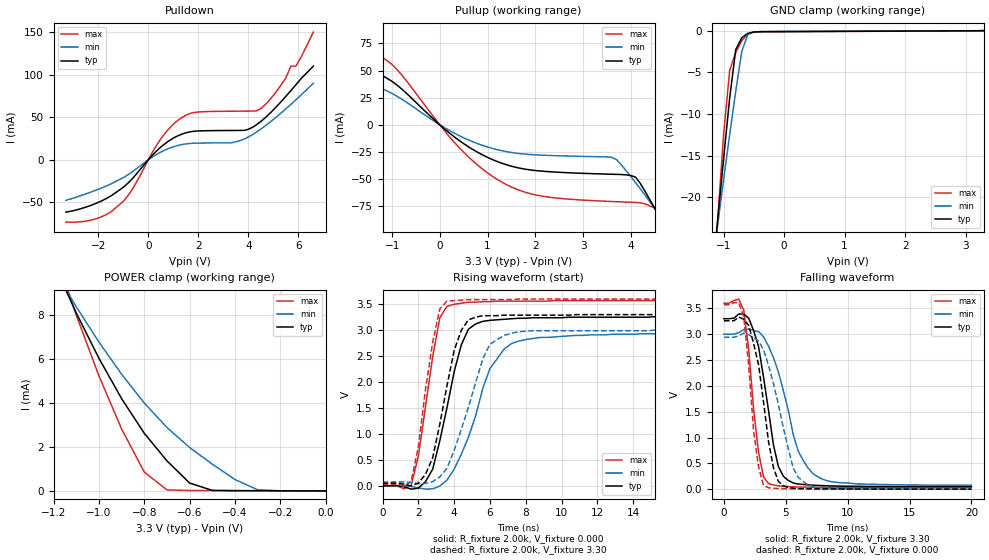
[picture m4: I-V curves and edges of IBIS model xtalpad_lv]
| [Disclaimer] (C) Copyright ATMEL Norway 2006 Atmel Norway makes no warranty
| for the use of its products, other than those explicitly
| stated in the Company's standard warranty which is detailed in
| Atmel's Terms and Conditions located on the Company's web
| site. The Company assumes no responsibility for any errors
| which may appear in this document. The user is granted this
| license only to use the IBIS model and is not granted rights
| to sell, load, rent, lease or license the IBIS model in whole
| or in part, or in modified form to anyone other than user.
| User may modify the IBIS model to suit its specific
| applications but rights to derivative works and such
| modifications shall belong to Atmel Norway. This IBIS model is
| provided on an \"AS IS\" basis and Atmel Norway makes
| absolutely no warranty with respect to the information
| contained herein.
| [Copyright] Copyright (c) 2008 by ATMEL Norway
| From m32a3p40.ibs, atmega32a_33_pdip40, Atmel Corp.
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|   Model xtalpad_lv
[Model]   xtalpad_lv
Model_type   I/O
Polarity   Non-Inverting
Enable   Active-High
Vinl =   0.99V
Vinh =   2.31V
Vmeas =   1.65V
Cref =  50.00pF
C_comp   3.89pF   3.88pF   4.46pF
[Temperature Range]   27.00   0.12k   -55.00
[Voltage Range]   3.30V   3.00V   3.60V
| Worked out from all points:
|   slope of the pulldown table from 0 to 0.495 V, typ, clamps not added: 33.5 ohm
|   slope of the pullup table from 0 to 0.495 V, typ, clamps not added: 28.9 ohm
|   GND clamp passes 1 mA (typ) near -0.71 V on its own axis
|   POWER clamp passes 1 mA (typ) near -0.66 V on its own axis
|   rising waveform, R_fixture 2.00k, V_fixture 0.000: 20-80 % time 1.27ns typ, 1.82ns min, 935ps max; typ from 0 V to 3.26 V
|   rising waveform, R_fixture 2.00k, V_fixture 3.30: 20-80 % time 1.14ns typ, 1.6ns min, 876ps max; typ from 0.048 V to 3.3 V
|   falling waveform, R_fixture 2.00k, V_fixture 3.30: 20-80 % time 1.28ns typ, 1.99ns min, 876ps max; typ from 3.3 V to 0.048 V
|   falling waveform, R_fixture 2.00k, V_fixture 0.000: 20-80 % time 1.21ns typ, 1.76ns min, 832ps max; typ from 3.26 V to 0 V
[Pulldown]
| voltage   I(typ)   I(min)   I(max)
-3.3V     -61.5mA    -47.6mA    -73.2mA
-1.9V     -48.71mA   -33.44mA   -67.3mA
-1V       -32.22mA   -20.91mA   -48.63mA
500mV     14.99mA    9.09mA     24.63mA
1.4V      30.77mA    18.2mA     50.7mA
3.4V      34.44mA    20.44mA    57.06mA
3.9V      34.87mA    25.29mA    57.19mA
4.5V      45.02mA    36.01mA    60.17mA
5.3V      67.97mA    54.71mA    87.56mA
5.7V      81.23mA    65.08mA    110mA
5.9V      88.09mA    70.44mA    110mA
6.6V      110mA      89.91mA    150mA
[Pullup]
| voltage   I(typ)   I(min)   I(max)
-3.3V     73.26mA    61.97mA    90.3mA
-2.3V     66.32mA    52.27mA    85.8mA
-1.5V     53.29mA    39.65mA    72.08mA
-900mV    36.66mA    26.4mA     51.05mA
600mV     -20.16mA   -13.88mA   -29.46mA
1.6V      -39.09mA   -26.03mA   -59mA
3.6V      -45.39mA   -29.85mA   -70.47mA
4.1V      -48.09mA   -53.18mA   -71.32mA
4.5V      -76.74mA   -76.83mA   -76.49mA
4.7V      -92.84mA   -89.13mA   -94.91mA
4.9V      -110mA     -100mA     -120mA
6.6V      -260mA     -210mA     -320mA
[GND_clamp]
| voltage   I(typ)   I(min)   I(max)
-3.3V     -210mA     -160mA     -280mA
-1.2V     -30.51mA   -29.1mA    -33.74mA
-1.1V     -22.82mA   -23.41mA   -22.9mA
-1V       -15.31mA   -17.85mA   -12.37mA
-900mV    -8.07mA    -12.47mA   -4.75mA
-800mV    -2.26mA    -7.27mA    -2.61mA
-700mV    -840uA     -2.47mA    -1.19mA
-600mV    -310uA     -450uA     -400uA
-500mV    -150uA     -150uA     -160uA
-400mV    -120uA     -100uA     -130uA
3.3V      66.98pA    51.32uA    -9.62uA
[POWER_clamp]
| voltage   I(typ)   I(min)   I(max)
-3.3V     76.44mA    60.63mA    100mA
-1.2V     10.39mA    10.13mA    11.12mA
-1.1V     8.12mA     8.4mA      8.02mA
-1V       6.05mA     6.79mA     5.25mA
-900mV    4.21mA     5.32mA     2.83mA
-800mV    2.63mA     4.01mA     860uA
-700mV    1.37mA     2.89mA     47.27uA
-600mV    360uA      1.98mA     20.14uA
-500mV    23.78uA    1.22mA     16.05uA
-400mV    12.49uA    520uA      12.83uA
-300mV    9.23uA     51.32uA    9.62uA
0V        66.98pA    1.79nA     29.01pA
[Ramp]
| variable   typ   min   max
dV/dt_r   1.95/1.21n   1.76/1.86n   2.14/0.77n
dV/dt_f   1.95/1.24n   1.76/2.01n   2.14/0.75n
R_load = 2.00k
[Rising Waveform]
R_fixture = 2.00k
V_fixture = 0.000
V_fixture_min = 0.000
V_fixture_max = 0.000
| time   V(typ)   V(min)   V(max)
0s        0V         0V         0V
1.6ns     -65.87mV   -11.94mV   9.06mV
2ns       -47.01mV   -43.55mV   570mV
2.8ns     320mV      -60.3mV    2.49V
3.2ns     870mV      -5.93mV    3.24V
3.6ns     1.51V      110mV      3.46V
4.8ns     3.02V      940mV      3.54V
6ns       3.19V      2.26V      3.55V
7.2ns     3.22V      2.74V      3.56V
20ns      3.26V      2.94V      3.57V
[Rising Waveform]
R_fixture = 2.00k
V_fixture = 3.30
V_fixture_min = 3.00
V_fixture_max = 3.60
| time   V(typ)   V(min)   V(max)
0s        47.89mV    71.43mV    31.59mV
1.6ns     -3.89mV    59.95mV    89.23mV
2.8ns     540mV      78.4mV     2.77V
3.2ns     1.19V      170mV      3.41V
3.6ns     1.93V      340mV      3.56V
4ns       2.61V      680mV      3.57V
4.8ns     3.2V       1.52V      3.59V
6ns       3.28V      2.73V      3.59V
6.8ns     3.29V      2.9V       3.59V
20ns      3.3V       3V         3.6V
[Falling Waveform]
R_fixture = 2.00k
V_fixture = 3.30
V_fixture_min = 3.00
V_fixture_max = 3.60
| time   V(typ)   V(min)   V(max)
0s        3.3V       3V         3.6V
1.2ns     3.39V      3.03V      3.68V
1.6ns     3.39V      3.09V      3.47V
2.8ns     2.76V      3.05V      710mV
3.6ns     1.53V      2.77V      110mV
4ns       860mV      2.55V      80.96mV
4.8ns     250mV      1.91V      56.1mV
6ns       100mV      740mV      42.68mV
7.2ns     76.88mV    300mV      37.89mV
20ns      48.18mV    74.46mV    31.61mV
[Falling Waveform]
R_fixture = 2.00k
V_fixture = 0.000
V_fixture_min = 0.000
V_fixture_max = 0.000
| time   V(typ)   V(min)   V(max)
0s        3.26V      2.94V      3.57V
1.2ns     3.33V      2.97V      3.61V
1.6ns     3.29V      3.02V      3.34V
2.4ns     2.82V      2.93V      1.13V
3.2ns     1.69V      2.7V       72.58mV
3.6ns     930mV      2.4V       27.53mV
4.4ns     150mV      1.64V      12.41mV
5.6ns     18.79mV    410mV      6.04mV
6.8ns     9.32mV     83.21mV    3.69mV
20ns      96.35uV    790uV      13.98uV
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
